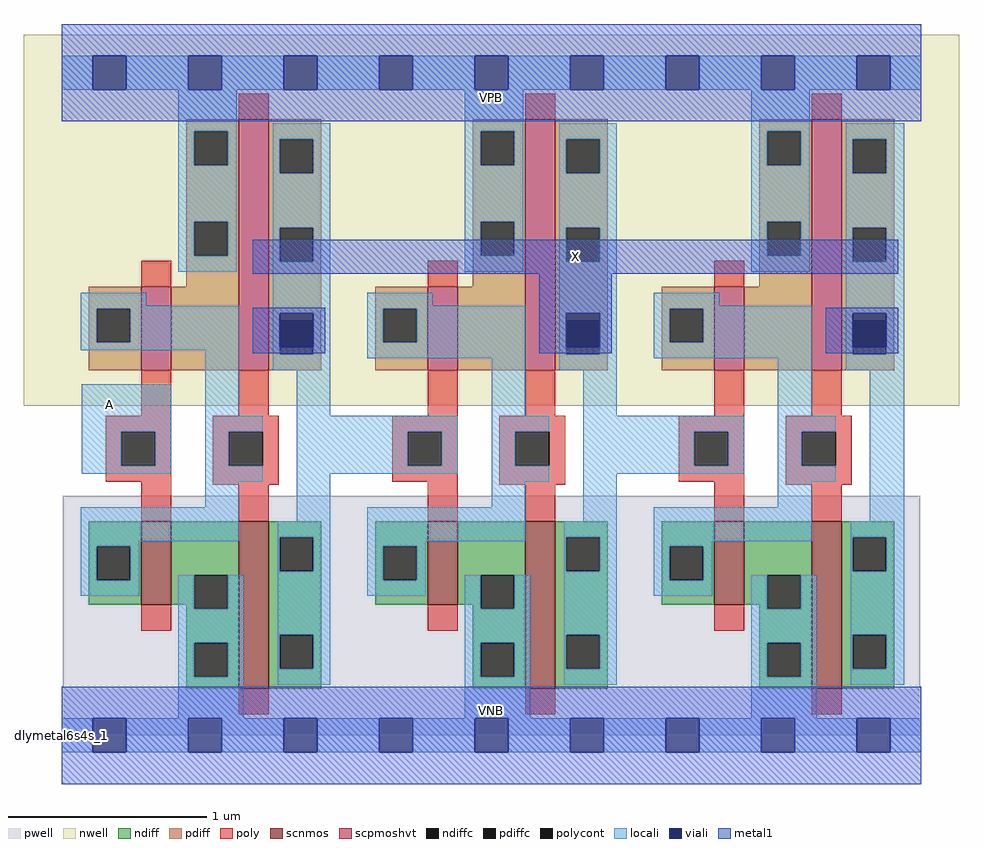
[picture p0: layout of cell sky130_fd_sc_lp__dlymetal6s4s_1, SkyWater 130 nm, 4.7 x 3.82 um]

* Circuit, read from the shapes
.subckt sky130_fd_sc_lp__dlymetal6s4s_1 A VGND VNB VPB VPWR X
XM1 VGND A n1 VNB sky130_fd_pr__nfet_01v8 w=0.42 l=0.15
XM2 n2 n1 VGND VNB sky130_fd_pr__nfet_01v8 w=0.84 l=0.15
XM3 VGND n2 n3 VNB sky130_fd_pr__nfet_01v8 w=0.42 l=0.15
XM4 X n3 VGND VNB sky130_fd_pr__nfet_01v8 w=0.84 l=0.15
XM5 VGND X n4 VNB sky130_fd_pr__nfet_01v8 w=0.42 l=0.15
XM6 n5 n4 VGND VNB sky130_fd_pr__nfet_01v8 w=0.84 l=0.15
XM7 VPWR A n1 VPB sky130_fd_pr__pfet_01v8_hvt w=0.42 l=0.15
XM8 n2 n1 VPWR VPB sky130_fd_pr__pfet_01v8_hvt w=1.26 l=0.15
XM9 VPWR n2 n3 VPB sky130_fd_pr__pfet_01v8_hvt w=0.42 l=0.15
XM10 X n3 VPWR VPB sky130_fd_pr__pfet_01v8_hvt w=1.26 l=0.15
XM11 VPWR X n4 VPB sky130_fd_pr__pfet_01v8_hvt w=0.42 l=0.15
XM12 n5 n4 VPWR VPB sky130_fd_pr__pfet_01v8_hvt w=1.26 l=0.15
.ends

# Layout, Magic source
magic
tech sky130A
magscale 1 2
<< nwell >>
rect -38 331 902 704
<< pwell >>
rect 1 49 863 241
rect 0 0 864 49
<< scnmos >>
rect 80 131 110 215
rect 178 47 208 215
rect 368 131 398 215
rect 466 47 496 215
rect 656 131 686 215
rect 754 47 784 215
<< scpmoshvt >>
rect 80 367 110 451
rect 178 367 208 619
rect 368 367 398 451
rect 466 367 496 619
rect 656 367 686 451
rect 754 367 784 619
<< ndiff >>
rect 27 190 80 215
rect 27 156 35 190
rect 69 156 80 190
rect 27 131 80 156
rect 110 161 178 215
rect 110 131 133 161
rect 125 127 133 131
rect 167 127 178 161
rect 125 93 178 127
rect 125 59 133 93
rect 167 59 178 93
rect 125 47 178 59
rect 208 199 261 215
rect 208 165 219 199
rect 253 165 261 199
rect 208 101 261 165
rect 315 190 368 215
rect 315 156 323 190
rect 357 156 368 190
rect 315 131 368 156
rect 398 161 466 215
rect 398 131 421 161
rect 413 127 421 131
rect 455 127 466 161
rect 208 67 219 101
rect 253 67 261 101
rect 208 47 261 67
rect 413 93 466 127
rect 413 59 421 93
rect 455 59 466 93
rect 413 47 466 59
rect 496 199 549 215
rect 496 165 507 199
rect 541 165 549 199
rect 496 101 549 165
rect 603 190 656 215
rect 603 156 611 190
rect 645 156 656 190
rect 603 131 656 156
rect 686 161 754 215
rect 686 131 709 161
rect 701 127 709 131
rect 743 127 754 161
rect 496 67 507 101
rect 541 67 549 101
rect 496 47 549 67
rect 701 93 754 127
rect 701 59 709 93
rect 743 59 754 93
rect 701 47 754 59
rect 784 199 837 215
rect 784 165 795 199
rect 829 165 837 199
rect 784 101 837 165
rect 784 67 795 101
rect 829 67 837 101
rect 784 47 837 67
<< pdiff >>
rect 125 607 178 619
rect 125 573 133 607
rect 167 573 178 607
rect 125 516 178 573
rect 125 482 133 516
rect 167 482 178 516
rect 125 451 178 482
rect 27 429 80 451
rect 27 395 35 429
rect 69 395 80 429
rect 27 367 80 395
rect 110 367 178 451
rect 208 599 261 619
rect 208 565 219 599
rect 253 565 261 599
rect 208 510 261 565
rect 208 476 219 510
rect 253 476 261 510
rect 413 607 466 619
rect 413 573 421 607
rect 455 573 466 607
rect 413 516 466 573
rect 413 482 421 516
rect 455 482 466 516
rect 208 417 261 476
rect 413 451 466 482
rect 208 383 219 417
rect 253 383 261 417
rect 208 367 261 383
rect 315 429 368 451
rect 315 395 323 429
rect 357 395 368 429
rect 315 367 368 395
rect 398 367 466 451
rect 496 599 549 619
rect 496 565 507 599
rect 541 565 549 599
rect 496 510 549 565
rect 496 476 507 510
rect 541 476 549 510
rect 701 607 754 619
rect 701 573 709 607
rect 743 573 754 607
rect 701 516 754 573
rect 701 482 709 516
rect 743 482 754 516
rect 496 417 549 476
rect 701 451 754 482
rect 496 383 507 417
rect 541 383 549 417
rect 496 367 549 383
rect 603 429 656 451
rect 603 395 611 429
rect 645 395 656 429
rect 603 367 656 395
rect 686 367 754 451
rect 784 599 837 619
rect 784 565 795 599
rect 829 565 837 599
rect 784 510 837 565
rect 784 476 795 510
rect 829 476 837 510
rect 784 417 837 476
rect 784 383 795 417
rect 829 383 837 417
rect 784 367 837 383
<< ndiffc >>
rect 35 156 69 190
rect 133 127 167 161
rect 133 59 167 93
rect 219 165 253 199
rect 323 156 357 190
rect 421 127 455 161
rect 219 67 253 101
rect 421 59 455 93
rect 507 165 541 199
rect 611 156 645 190
rect 709 127 743 161
rect 507 67 541 101
rect 709 59 743 93
rect 795 165 829 199
rect 795 67 829 101
<< pdiffc >>
rect 133 573 167 607
rect 133 482 167 516
rect 35 395 69 429
rect 219 565 253 599
rect 219 476 253 510
rect 421 573 455 607
rect 421 482 455 516
rect 219 383 253 417
rect 323 395 357 429
rect 507 565 541 599
rect 507 476 541 510
rect 709 573 743 607
rect 709 482 743 516
rect 507 383 541 417
rect 611 395 645 429
rect 795 565 829 599
rect 795 476 829 510
rect 795 383 829 417
<< poly >>
rect 178 619 208 645
rect 466 619 496 645
rect 754 619 784 645
rect 80 451 110 477
rect 368 451 398 477
rect 656 451 686 477
rect 80 321 110 367
rect 178 321 208 367
rect 368 321 398 367
rect 466 321 496 367
rect 656 321 686 367
rect 754 321 784 367
rect 44 305 110 321
rect 44 271 60 305
rect 94 271 110 305
rect 44 255 110 271
rect 80 215 110 255
rect 152 305 218 321
rect 152 271 168 305
rect 202 271 218 305
rect 152 252 218 271
rect 332 305 398 321
rect 332 271 348 305
rect 382 271 398 305
rect 332 255 398 271
rect 178 215 208 252
rect 368 215 398 255
rect 440 305 506 321
rect 440 271 456 305
rect 490 271 506 305
rect 440 252 506 271
rect 620 305 686 321
rect 620 271 636 305
rect 670 271 686 305
rect 620 255 686 271
rect 466 215 496 252
rect 656 215 686 255
rect 728 305 794 321
rect 728 271 744 305
rect 778 271 794 305
rect 728 252 794 271
rect 754 215 784 252
rect 80 105 110 131
rect 368 105 398 131
rect 656 105 686 131
rect 178 21 208 47
rect 466 21 496 47
rect 754 21 784 47
<< polycont >>
rect 60 271 94 305
rect 168 271 202 305
rect 348 271 382 305
rect 456 271 490 305
rect 636 271 670 305
rect 744 271 778 305
<< locali >>
rect 0 649 31 683
rect 65 649 127 683
rect 161 649 223 683
rect 257 649 319 683
rect 353 649 415 683
rect 449 649 511 683
rect 545 649 607 683
rect 641 649 703 683
rect 737 649 799 683
rect 833 649 864 683
rect 117 607 176 649
rect 117 573 133 607
rect 167 573 176 607
rect 117 516 176 573
rect 117 482 133 516
rect 167 482 176 516
rect 117 466 176 482
rect 212 599 270 615
rect 212 565 219 599
rect 253 565 270 599
rect 212 510 270 565
rect 212 476 219 510
rect 253 476 270 510
rect 19 432 85 445
rect 19 429 178 432
rect 19 395 35 429
rect 69 395 178 429
rect 19 387 178 395
rect 20 305 110 353
rect 20 271 60 305
rect 94 271 110 305
rect 20 263 110 271
rect 144 321 178 387
rect 212 424 270 476
rect 405 607 464 649
rect 405 573 421 607
rect 455 573 464 607
rect 405 516 464 573
rect 405 482 421 516
rect 455 482 464 516
rect 405 466 464 482
rect 500 599 558 615
rect 500 565 507 599
rect 541 565 558 599
rect 500 510 558 565
rect 500 476 507 510
rect 541 476 558 510
rect 212 383 219 424
rect 253 383 270 424
rect 212 367 270 383
rect 307 432 373 445
rect 307 429 466 432
rect 307 395 323 429
rect 357 395 466 429
rect 307 379 466 395
rect 236 321 270 367
rect 432 321 466 379
rect 500 424 558 476
rect 693 607 752 649
rect 693 573 709 607
rect 743 573 752 607
rect 693 516 752 573
rect 693 482 709 516
rect 743 482 752 516
rect 693 466 752 482
rect 788 599 847 615
rect 788 565 795 599
rect 829 565 847 599
rect 788 510 847 565
rect 788 476 795 510
rect 829 476 847 510
rect 500 383 507 424
rect 541 383 558 424
rect 500 367 558 383
rect 595 432 661 445
rect 595 429 754 432
rect 595 395 611 429
rect 645 395 754 429
rect 595 379 754 395
rect 524 321 558 367
rect 720 321 754 379
rect 788 424 847 476
rect 788 383 795 424
rect 829 383 847 424
rect 788 367 847 383
rect 144 305 202 321
rect 144 271 168 305
rect 144 255 202 271
rect 236 305 398 321
rect 236 271 348 305
rect 382 271 398 305
rect 236 263 398 271
rect 432 305 490 321
rect 432 271 456 305
rect 144 229 178 255
rect 19 195 178 229
rect 236 215 270 263
rect 432 255 490 271
rect 524 305 686 321
rect 524 271 636 305
rect 670 271 686 305
rect 524 263 686 271
rect 720 305 778 321
rect 720 271 744 305
rect 432 229 466 255
rect 217 199 270 215
rect 19 190 78 195
rect 19 156 35 190
rect 69 156 78 190
rect 217 165 219 199
rect 253 165 270 199
rect 19 140 78 156
rect 117 127 133 161
rect 167 127 183 161
rect 117 93 183 127
rect 117 59 133 93
rect 167 59 183 93
rect 117 17 183 59
rect 217 101 270 165
rect 307 195 466 229
rect 524 215 558 263
rect 720 255 778 271
rect 720 229 754 255
rect 505 199 558 215
rect 307 190 366 195
rect 307 156 323 190
rect 357 156 366 190
rect 505 165 507 199
rect 541 165 558 199
rect 307 140 366 156
rect 217 67 219 101
rect 253 67 270 101
rect 217 51 270 67
rect 405 127 421 161
rect 455 127 471 161
rect 405 93 471 127
rect 405 59 421 93
rect 455 59 471 93
rect 405 17 471 59
rect 505 101 558 165
rect 595 195 754 229
rect 812 215 847 367
rect 793 199 847 215
rect 595 190 654 195
rect 595 156 611 190
rect 645 156 654 190
rect 793 165 795 199
rect 829 165 847 199
rect 595 140 654 156
rect 505 67 507 101
rect 541 67 558 101
rect 505 51 558 67
rect 693 127 709 161
rect 743 127 759 161
rect 693 93 759 127
rect 693 59 709 93
rect 743 59 759 93
rect 693 17 759 59
rect 793 101 847 165
rect 793 67 795 101
rect 829 67 847 101
rect 793 51 847 67
rect 0 -17 31 17
rect 65 -17 127 17
rect 161 -17 223 17
rect 257 -17 319 17
rect 353 -17 415 17
rect 449 -17 511 17
rect 545 -17 607 17
rect 641 -17 703 17
rect 737 -17 799 17
rect 833 -17 864 17
<< viali >>
rect 31 649 65 683
rect 127 649 161 683
rect 223 649 257 683
rect 319 649 353 683
rect 415 649 449 683
rect 511 649 545 683
rect 607 649 641 683
rect 703 649 737 683
rect 799 649 833 683
rect 219 417 253 424
rect 219 390 253 417
rect 507 417 541 424
rect 507 390 541 417
rect 795 417 829 424
rect 795 390 829 417
rect 31 -17 65 17
rect 127 -17 161 17
rect 223 -17 257 17
rect 319 -17 353 17
rect 415 -17 449 17
rect 511 -17 545 17
rect 607 -17 641 17
rect 703 -17 737 17
rect 799 -17 833 17
<< metal1 >>
rect 0 683 864 715
rect 0 649 31 683
rect 65 649 127 683
rect 161 649 223 683
rect 257 649 319 683
rect 353 649 415 683
rect 449 649 511 683
rect 545 649 607 683
rect 641 649 703 683
rect 737 649 799 683
rect 833 649 864 683
rect 0 617 864 649
rect 192 464 841 498
rect 192 424 265 430
rect 192 390 219 424
rect 253 390 265 424
rect 192 384 265 390
rect 480 424 553 464
rect 480 390 507 424
rect 541 390 553 424
rect 480 384 553 390
rect 768 424 841 430
rect 768 390 795 424
rect 829 390 841 424
rect 768 384 841 390
rect 0 17 864 49
rect 0 -17 31 17
rect 65 -17 127 17
rect 161 -17 223 17
rect 257 -17 319 17
rect 353 -17 415 17
rect 449 -17 511 17
rect 545 -17 607 17
rect 641 -17 703 17
rect 737 -17 799 17
rect 833 -17 864 17
rect 0 -49 864 -17
<< labels >>
flabel pwell s 0 0 864 49 0 FreeSans 200 0 0 0 VNB
port 3 nsew ground bidirectional
flabel nwell s 0 617 864 666 0 FreeSans 200 0 0 0 VPB
port 4 nsew power bidirectional
rlabel comment s 0 0 0 0 4 dlymetal6s4s_1
flabel metal1 s 192 464 841 498 0 FreeSans 340 0 0 0 X
port 6 nsew signal output
flabel metal1 s 0 0 864 49 0 FreeSans 340 0 0 0 VGND
port 2 nsew ground bidirectional
flabel metal1 s 0 617 864 666 0 FreeSans 340 0 0 0 VPWR
port 5 nsew power bidirectional
flabel locali s 31 316 65 350 0 FreeSans 340 0 0 0 A
port 1 nsew signal input
<< properties >>
string LEFsite unit
string LEFclass CORE
string FIXED_BBOX 0 0 864 666
string GDS_FILE $PDKPATH/libs.ref/sky130_fd_sc_lp/gds/sky130_fd_sc_lp.gds
string LEFsymmetry X Y R90
string GDS_END 460826
string GDS_START 452970
<< end >>
